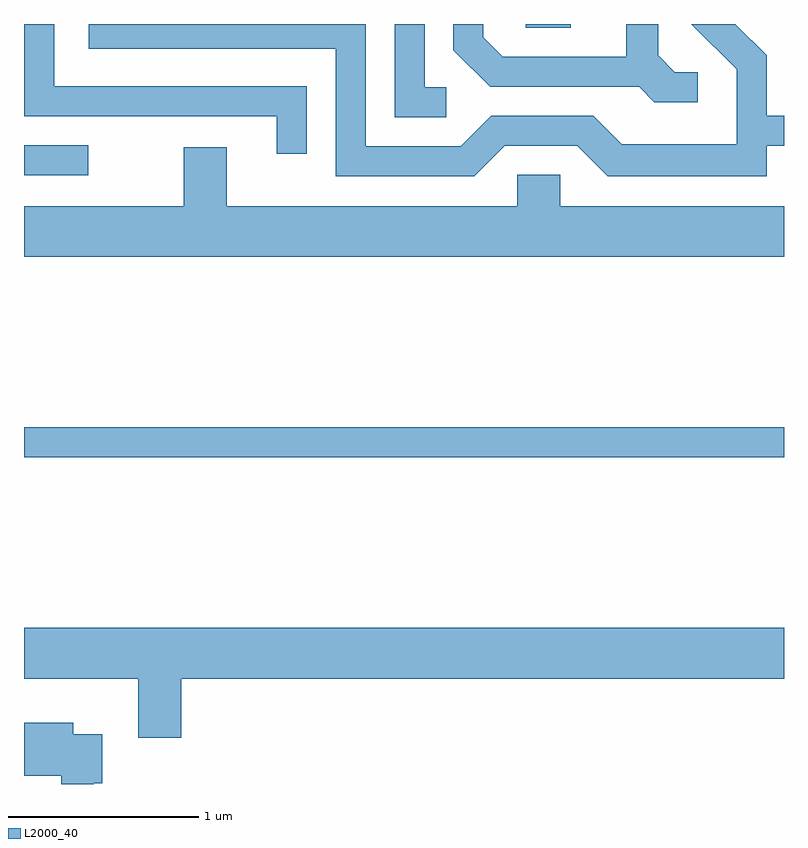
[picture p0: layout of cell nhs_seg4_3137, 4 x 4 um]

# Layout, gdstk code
import gdstk
lib = gdstk.Library(unit=1e-6, precision=1e-09)
def R(c, l, rs):  # rectangles x0, y0, x1, y1
    for r in rs: c.add(gdstk.rectangle(r[:2], r[2:], *l))
def P(c, l, *ps):  # polygons
    for p in ps: c.add(gdstk.Polygon(p, *l))
L2000_40 = (2000, 40)

nhs_seg4_3137 = lib.new_cell('nhs_seg4_3137')
R(nhs_seg4_3137, L2000_40, [(277.611,1273.701,281.611,1273.859), (277.611,1275.186,277.948,1275.344), (280.251,1275.961,280.489,1275.982)])
P(nhs_seg4_3137, L2000_40, [(280.142,1275.341),(280.524,1275.341),(280.684,1275.181),(281.519,1275.181),(281.519,1275.341),(281.611,1275.341),(281.611,1275.499),(281.519,1275.499),(281.519,1275.817),(281.354,1275.982),(281.123,1275.982),(281.361,1275.744),(281.361,1275.349),(280.757,1275.349),(280.607,1275.499),(280.069,1275.499),(279.909,1275.339),(279.409,1275.339),(279.409,1275.982),(277.951,1275.982),(277.951,1275.851),(279.251,1275.851),(279.251,1275.181),(279.982,1275.181)],
  [(279.833,1275.649),(279.719,1275.649),(279.719,1275.982),(279.561,1275.982),(279.561,1275.491),(279.833,1275.491)],
  [(281.158,1275.729),(281.037,1275.729),(280.949,1275.817),(280.949,1275.982),(280.781,1275.982),(280.781,1275.809),(280.132,1275.809),(280.029,1275.912),(280.029,1275.982),(279.871,1275.982),(279.871,1275.844),(280.064,1275.651),(280.849,1275.651),(280.929,1275.571),(281.158,1275.571)],
  [(279.099,1275.654),(277.769,1275.654),(277.769,1275.982),(277.611,1275.982),(277.611,1275.496),(278.941,1275.496),(278.941,1275.298),(279.099,1275.298)],
  [(281.611,1275.024),(280.434,1275.024),(280.434,1275.189),(280.206,1275.189),(280.206,1275.024),(278.679,1275.024),(278.679,1275.334),(278.451,1275.334),(278.451,1275.024),(277.611,1275.024),(277.611,1274.756),(281.611,1274.756)],
  [(278.439,1272.536),(281.611,1272.536),(281.611,1272.804),(277.611,1272.804),(277.611,1272.536),(278.211,1272.536),(278.211,1272.226),(278.439,1272.226)],
  [(277.979,1271.986),(278.024,1271.986),(278.024,1272.244),(277.869,1272.244),(277.869,1272.304),(277.611,1272.304),(277.611,1272.026),(277.806,1272.026),(277.806,1271.982),(277.979,1271.982)])

lib.write_gds('nhs_seg4_3137.gds')
